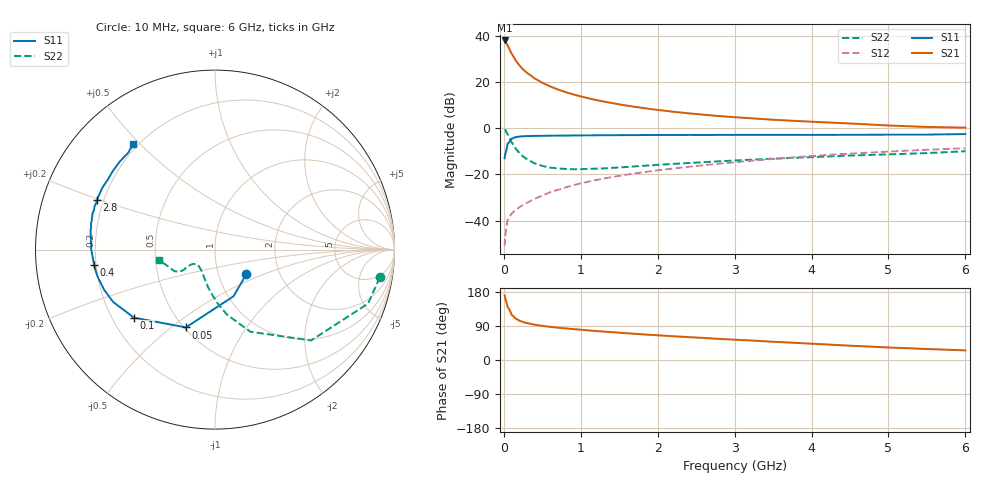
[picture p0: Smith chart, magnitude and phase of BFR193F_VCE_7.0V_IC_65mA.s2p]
! Infineon Technologies  Discrete & RF Semiconductors
! BFR193F
! VCE =  7.0 V,  IC =  65 mA
! Common Emitter S-Parameters:  Jan 2017
# GHz  S  MA  R  50
!  f  S11  S21  S12  S22
! GHz  MAG  ANG  MAG  ANG  MAG  ANG  MAG  ANG
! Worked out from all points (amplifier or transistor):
!   77 points, 10 MHz to 6 GHz, reference 50 ohm
!   highest |S21| = 37.9 dB at 10 MHz (marker M1)
!   |S21| within 3 dB of that: start of sweep to 62.7 MHz
!   unconditionally stable (mu >= 1): 756.8 MHz to 2.478 GHz
!   at 130 MHz: K = 0.52, MSG = 33.3 dB, |S12| = -36.0 dB
!   at 2.2 GHz: K = 1.01, MAG = 11.6 dB, |S12| = -17.5 dB
!   at 6 GHz: K = 0.85, MSG = 4.5 dB, |S12| = -8.7 dB
!   S11 on the Smith chart (normalised r, x): 10 MHz: 1.36, -0.39; 50 MHz: 0.51, -0.56; 100 MHz: 0.29, -0.34; 400 MHz: 0.19, -0.06; 2.8 GHz: 0.17, +0.20; 6 GHz: 0.18, +0.48
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0.01  0.222 -38.2  78.63 170.5  0.0028 80.3  0.931 -9.6
0.02  0.2799 -68.4  75.78 161.1  0.0049 76.1  0.9045 -19.4
0.05  0.4628 -110.5  61.33 139.7  0.0103 63.6  0.7367 -43.4
0.1  0.5899 -140.0  41.13 119.7  0.0142 53.7  0.4981 -66.7
0.15  0.638 -152.8  29.71 109.9  0.0169 53.4  0.3674 -79.7
0.2  0.6566 -159.9  22.98 104.0  0.0194 55.7  0.2939 -88.0
0.25  0.6663 -165.0  18.63 100.1  0.0218 58.5  0.2425 -95.1
0.3  0.673 -168.0  15.7 97.3  0.0241 61.0  0.2132 -100.4
0.4  0.6795 -172.8  11.88 93.0  0.0295 64.0  0.173 -109.4
0.5  0.6817 -175.9  9.552 90.1  0.0348 66.7  0.1522 -116.3
0.6  0.6861 -178.3  8.003 87.5  0.0408 69.4  0.1402 -122.5
0.7  0.6904 179.5  6.879 85.3  0.0462 70.7  0.1345 -127.0
0.8  0.6896 177.9  6.02 83.5  0.0521 72.0  0.131 -131.5
0.9  0.6933 176.1  5.372 81.6  0.0581 72.8  0.1291 -134.5
1.1  0.6972 173.4  4.409 78.1  0.0697 73.9  0.1316 -139.4
1.5  0.7043 168.8  3.264 72.1  0.0926 74.5  0.1415 -145.4
2.1  0.7105 163.0  2.369 64.0  0.1281 74.3  0.1644 -148.2
2.8  0.7133 157.0  1.821 55.7  0.1701 72.9  0.1915 -148.2
3.1  0.7143 154.5  1.68 52.6  0.1887 72.2  0.2032 -147.1
4.1  0.7138 145.9  1.351 42.0  0.255 68.2  0.2393 -149.2
5.1  0.7223 136.1  1.123 32.2  0.3168 62.5  0.2741 -159.0
6  0.7442 127.7  1.024 25.3  0.3671 57.2  0.3159 -169.2
